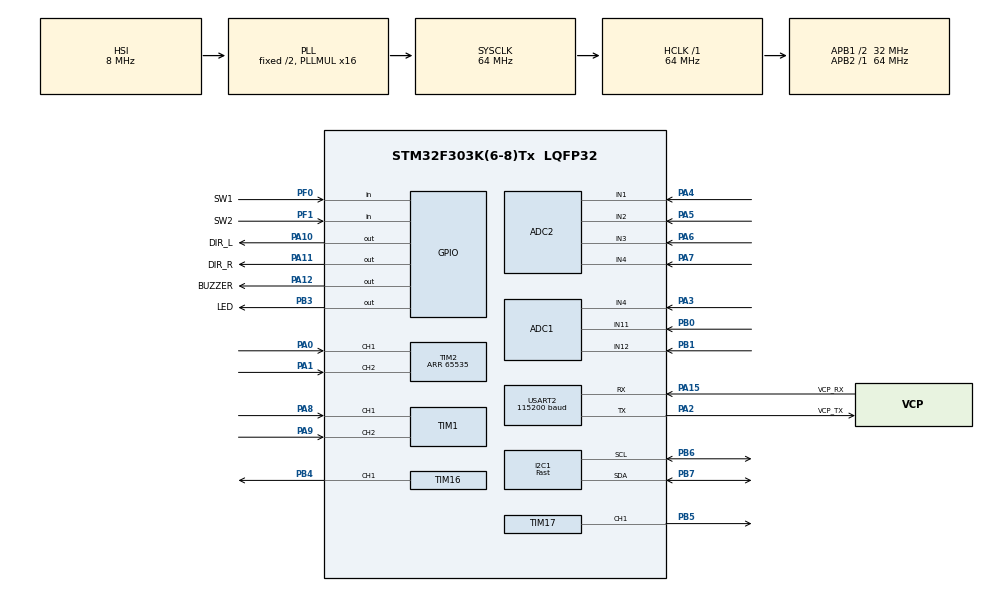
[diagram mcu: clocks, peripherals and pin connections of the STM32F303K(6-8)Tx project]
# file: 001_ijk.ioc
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ADC1.Channel-0\#ChannelRegularConversion=ADC_CHANNEL_4
ADC1.Channel-1\#ChannelRegularConversion=ADC_CHANNEL_11
ADC1.Channel-2\#ChannelRegularConversion=ADC_CHANNEL_12
ADC1.DMAContinuousRequests=ENABLE
ADC1.DiscontinuousConvMode=ENABLE
ADC1.ExternalTrigConv=ADC_EXTERNALTRIGCONV_T3_TRGO
ADC1.NbrOfConversion=3
ADC1.NbrOfConversionFlag=1
ADC1.NbrOfDiscConversion=3
ADC1.Offset-0\#ChannelRegularConversion=0
ADC1.Offset-1\#ChannelRegularConversion=0
ADC1.Offset-2\#ChannelRegularConversion=0
ADC1.OffsetNumber-0\#ChannelRegularConversion=ADC_OFFSET_NONE
ADC1.OffsetNumber-1\#ChannelRegularConversion=ADC_OFFSET_NONE
ADC1.OffsetNumber-2\#ChannelRegularConversion=ADC_OFFSET_NONE
ADC1.Rank-0\#ChannelRegularConversion=1
ADC1.Rank-1\#ChannelRegularConversion=2
ADC1.Rank-2\#ChannelRegularConversion=3
ADC1.SamplingTime-0\#ChannelRegularConversion=ADC_SAMPLETIME_4CYCLES_5
ADC1.SamplingTime-1\#ChannelRegularConversion=ADC_SAMPLETIME_4CYCLES_5
ADC1.SamplingTime-2\#ChannelRegularConversion=ADC_SAMPLETIME_4CYCLES_5
ADC1.SamplingTimeOPAMP-1\#ChannelRegularConversion=ADC_SAMPLETIME_61CYCLES_5
ADC1.SamplingTimeOPAMP-2\#ChannelRegularConversion=ADC_SAMPLETIME_61CYCLES_5
ADC1.SubFamily=STM32F303x8
ADC1.master=1
ADC2.Channel-0\#ChannelRegularConversion=ADC_CHANNEL_1
ADC2.Channel-1\#ChannelRegularConversion=ADC_CHANNEL_2
ADC2.Channel-2\#ChannelRegularConversion=ADC_CHANNEL_3
ADC2.Channel-3\#ChannelRegularConversion=ADC_CHANNEL_4
ADC2.DMAContinuousRequests=ENABLE
ADC2.DiscontinuousConvMode=ENABLE
ADC2.ExternalTrigConv=ADC_EXTERNALTRIGCONV_T3_TRGO
ADC2.NbrOfConversion=4
ADC2.NbrOfConversionFlag=1
ADC2.NbrOfDiscConversion=4
ADC2.Offset-0\#ChannelRegularConversion=0
ADC2.Offset-1\#ChannelRegularConversion=0
ADC2.Offset-2\#ChannelRegularConversion=0
ADC2.Offset-3\#ChannelRegularConversion=0
ADC2.OffsetNumber-0\#ChannelRegularConversion=ADC_OFFSET_NONE
ADC2.OffsetNumber-1\#ChannelRegularConversion=ADC_OFFSET_NONE
ADC2.OffsetNumber-2\#ChannelRegularConversion=ADC_OFFSET_NONE
ADC2.OffsetNumber-3\#ChannelRegularConversion=ADC_OFFSET_NONE
ADC2.Rank-0\#ChannelRegularConversion=1
ADC2.Rank-1\#ChannelRegularConversion=2
ADC2.Rank-2\#ChannelRegularConversion=3
ADC2.Rank-3\#ChannelRegularConversion=4
ADC2.SamplingTime-0\#ChannelRegularConversion=ADC_SAMPLETIME_4CYCLES_5
ADC2.SamplingTime-1\#ChannelRegularConversion=ADC_SAMPLETIME_4CYCLES_5
ADC2.SamplingTime-2\#ChannelRegularConversion=ADC_SAMPLETIME_4CYCLES_5
ADC2.SamplingTime-3\#ChannelRegularConversion=ADC_SAMPLETIME_4CYCLES_5
ADC2.SamplingTimeOPAMP-1\#ChannelRegularConversion=ADC_SAMPLETIME_61CYCLES_5
ADC2.SamplingTimeOPAMP-2\#ChannelRegularConversion=ADC_SAMPLETIME_61CYCLES_5
ADC2.SamplingTimeOPAMP-3\#ChannelRegularConversion=ADC_SAMPLETIME_61CYCLES_5
ADC2.SubFamily=STM32F303x8
Dma.ADC1.0.Direction=DMA_PERIPH_TO_MEMORY
Dma.ADC1.0.Instance=DMA1_Channel1
Dma.ADC1.0.MemDataAlignment=DMA_MDATAALIGN_HALFWORD
Dma.ADC1.0.MemInc=DMA_MINC_ENABLE
Dma.ADC1.0.Mode=DMA_CIRCULAR
Dma.ADC1.0.PeriphDataAlignment=DMA_PDATAALIGN_HALFWORD
Dma.ADC1.0.PeriphInc=DMA_PINC_DISABLE
Dma.ADC1.0.Priority=DMA_PRIORITY_LOW
Dma.ADC2.1.Direction=DMA_PERIPH_TO_MEMORY
Dma.ADC2.1.Instance=DMA1_Channel2
Dma.ADC2.1.MemDataAlignment=DMA_MDATAALIGN_HALFWORD
Dma.ADC2.1.MemInc=DMA_MINC_ENABLE
Dma.ADC2.1.Mode=DMA_CIRCULAR
Dma.ADC2.1.PeriphDataAlignment=DMA_PDATAALIGN_HALFWORD
Dma.ADC2.1.PeriphInc=DMA_PINC_DISABLE
Dma.ADC2.1.Priority=DMA_PRIORITY_LOW
Dma.I2C1_RX.2.Direction=DMA_PERIPH_TO_MEMORY
Dma.I2C1_RX.2.Instance=DMA1_Channel3
Dma.I2C1_RX.2.MemDataAlignment=DMA_MDATAALIGN_BYTE
Dma.I2C1_RX.2.MemInc=DMA_MINC_ENABLE
Dma.I2C1_RX.2.Mode=DMA_NORMAL
Dma.I2C1_RX.2.PeriphDataAlignment=DMA_PDATAALIGN_BYTE
Dma.I2C1_RX.2.PeriphInc=DMA_PINC_DISABLE
Dma.I2C1_RX.2.Priority=DMA_PRIORITY_LOW
Dma.I2C1_TX.3.Direction=DMA_MEMORY_TO_PERIPH
Dma.I2C1_TX.3.Instance=DMA1_Channel4
Dma.I2C1_TX.3.MemDataAlignment=DMA_MDATAALIGN_BYTE
Dma.I2C1_TX.3.MemInc=DMA_MINC_ENABLE
Dma.I2C1_TX.3.Mode=DMA_NORMAL
Dma.I2C1_TX.3.PeriphDataAlignment=DMA_PDATAALIGN_BYTE
Dma.I2C1_TX.3.PeriphInc=DMA_PINC_DISABLE
Dma.I2C1_TX.3.Priority=DMA_PRIORITY_LOW
Dma.Request0=ADC1
Dma.Request1=ADC2
Dma.Request2=I2C1_RX
Dma.Request3=I2C1_TX
I2C1.I2C_Speed_Mode=I2C_Fast
I2C1.Timing=0x0010020A
Mcu.Family=STM32F3
Mcu.Name=STM32F303K(6-8)Tx
Mcu.Package=LQFP32
NVIC.DMA1_Channel1_IRQn=true\:0\:0\:false\:false\:true\:false\:true\:true
NVIC.DMA1_Channel2_IRQn=true\:0\:0\:false\:false\:true\:false\:true\:true
NVIC.DMA1_Channel3_IRQn=true\:0\:0\:false\:false\:true\:false\:true\:true
NVIC.DMA1_Channel4_IRQn=true\:0\:0\:false\:false\:true\:false\:true\:true
NVIC.I2C1_EV_IRQn=true\:0\:0\:false\:false\:true\:true\:true\:true
NVIC.PriorityGroup=NVIC_PRIORITYGROUP_4
NVIC.TIM6_DAC1_IRQn=true\:0\:0\:false\:false\:true\:true\:true\:true
NVIC.TIM7_DAC2_IRQn=true\:0\:0\:false\:false\:true\:true\:true\:true
PA0.Signal=S_TIM2_CH1_ETR
PA1.Signal=S_TIM2_CH2
PA10.GPIO_Label=DIR_L
PA10.Signal=GPIO_Output
PA11.GPIO_Label=DIR_R
PA11.Signal=GPIO_Output
PA12.GPIO_Label=BUZZER
PA12.Signal=GPIO_Output
PA13.GPIO_Label=SWDIO
PA13.Mode=Serial_Wire
PA13.Signal=SYS_JTMS-SWDIO
PA14.GPIO_Label=SWCLK
PA14.Mode=Serial_Wire
PA14.Signal=SYS_JTCK-SWCLK
PA15.GPIO_Label=VCP_RX
PA15.Mode=Asynchronous
PA15.Signal=USART2_RX
PA2.GPIO_Label=VCP_TX
PA2.Mode=Asynchronous
PA2.Signal=USART2_TX
PA3.Mode=IN4-Single-Ended
PA3.Signal=ADC1_IN4
PA4.Mode=IN1-Single-Ended
PA4.Signal=ADC2_IN1
PA5.Mode=IN2-Single-Ended
PA5.Signal=ADC2_IN2
PA6.Mode=IN3-Single-Ended
PA6.Signal=ADC2_IN3
PA7.Mode=IN4-Single-Ended
PA7.Signal=ADC2_IN4
PA8.Signal=S_TIM1_CH1
PA9.Signal=S_TIM1_CH2
PB0.Mode=IN11-Single-Ended
PB0.Signal=ADC1_IN11
PB1.Mode=IN12-Single-Ended
PB1.Signal=ADC1_IN12
PB3.GPIO_Label=LED
PB3.Signal=GPIO_Output
PB4.Signal=S_TIM16_CH1
PB5.Signal=S_TIM17_CH1
PB6.Mode=I2C
PB6.Signal=I2C1_SCL
PB7.Mode=I2C
PB7.Signal=I2C1_SDA
PF0\ /\ OSC_IN.GPIO_Label=SW1
PF0\ /\ OSC_IN.GPIO_PuPd=GPIO_PULLUP
PF0\ /\ OSC_IN.Signal=GPIO_Input
PF1\ /\ OSC_OUT.GPIO_Label=SW2
PF1\ /\ OSC_OUT.GPIO_PuPd=GPIO_PULLUP
PF1\ /\ OSC_OUT.Signal=GPIO_Input
ProjectManager.HeapSize=0x200
ProjectManager.StackSize=0x400
ProjectManager.TargetToolchain=CMake
RCC.AHBFreq_Value=64000000
RCC.APB1CLKDivider=RCC_HCLK_DIV2
RCC.APB1Freq_Value=32000000
RCC.APB1TimFreq_Value=64000000
RCC.APB2Freq_Value=64000000
RCC.APB2TimFreq_Value=64000000
RCC.CortexFreq_Value=64000000
RCC.HCLKFreq_Value=64000000
RCC.HSE_VALUE=8000000
RCC.HSI_VALUE=8000000
RCC.PLLMUL=RCC_PLL_MUL16
RCC.SYSCLKFreq_VALUE=64000000
RCC.SYSCLKSourceVirtual=RCC_SYSCLKSOURCE_PLLCLK
SH.S_TIM16_CH1.0=TIM16_CH1,PWM Generation1 CH1
SH.S_TIM17_CH1.0=TIM17_CH1,PWM Generation1 CH1
SH.S_TIM1_CH1.0=TIM1_CH1,Encoder_Interface
SH.S_TIM1_CH2.0=TIM1_CH2,Encoder_Interface
SH.S_TIM2_CH1_ETR.0=TIM2_CH1,Encoder_Interface
SH.S_TIM2_CH2.0=TIM2_CH2,Encoder_Interface
TIM1.AutoReloadPreload=TIM_AUTORELOAD_PRELOAD_ENABLE
TIM1.EncoderMode=TIM_ENCODERMODE_TI12
TIM16.AutoReloadPreload=TIM_AUTORELOAD_PRELOAD_ENABLE
TIM16.Channel=TIM_CHANNEL_1
TIM16.Period=3199
TIM16.Pulse=599
TIM17.AutoReloadPreload=TIM_AUTORELOAD_PRELOAD_ENABLE
TIM17.Channel=TIM_CHANNEL_1
TIM17.Period=3199
TIM17.Pulse=599
TIM2.AutoReloadPreload=TIM_AUTORELOAD_PRELOAD_ENABLE
TIM2.EncoderMode=TIM_ENCODERMODE_TI12
TIM2.Period=65535
TIM3.AutoReloadPreload=TIM_AUTORELOAD_PRELOAD_ENABLE
TIM3.Period=999
TIM3.Prescaler=63
TIM3.TIM_MasterOutputTrigger=TIM_TRGO_UPDATE
TIM6.AutoReloadPreload=TIM_AUTORELOAD_PRELOAD_ENABLE
TIM6.Period=499
TIM6.Prescaler=63
TIM7.AutoReloadPreload=TIM_AUTORELOAD_PRELOAD_ENABLE
TIM7.Prescaler=15
TIM7.TIM_MasterOutputTrigger=TIM_TRGO_UPDATE
USART2.BaudRate=115200
USART2.VirtualMode-Asynchronous=VM_ASYNC
VP_TIM16_VS_ClockSourceINT.Mode=Enable_Timer
VP_TIM17_VS_ClockSourceINT.Mode=Enable_Timer
VP_TIM3_VS_ClockSourceINT.Mode=Internal
VP_TIM6_VS_ClockSourceINT.Mode=Enable_Timer
VP_TIM7_VS_ClockSourceINT.Mode=Enable_Timer
board=NUCLEO-F303K8

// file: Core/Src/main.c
/* USER CODE BEGIN Header */
/**
  ******************************************************************************
  * @file           : main.c
  * @brief          : Main program body
  ******************************************************************************
  * @attention
  *
  * Copyright (c) 2025 STMicroelectronics.
  * All rights reserved.
  *
  * This software is licensed under terms that can be found in the LICENSE file
  * in the root directory of this software component.
  * If no LICENSE file comes with this software, it is provided AS-IS.
  *
  ******************************************************************************
  */
/* USER CODE END Header */
#include "main.h"
#include "adc.h"
#include "dma.h"
#include "i2c.h"
#include "stm32f3xx_hal_gpio.h"
#include "stm32f3xx_hal_tim.h"
#include "tim.h"
#include "usart.h"
#include "gpio.h"

/* USER CODE BEGIN Includes */
// #include <xprintf.h>
#include <xprintf.h>

#include "../../usercodes/sac/sac.h"
#include "../../usercodes/app/app.h"
#include "../../usercodes/service/i2cmn/i2c_manager.h"

/* USER CODE END Includes */

/* USER CODE BEGIN PV */
volatile uint16_t   ADC1_DMA_data[3];
volatile uint16_t   ADC2_DMA_data[4];
volatile uint16_t   timerIntrDevCnt;

/* USER CODE END PV */

void SystemClock_Config(void);
/* USER CODE BEGIN PFP */

/**
 * @brief 500usタイマーハンドラA
 * @details タイマー割り込み内で実施
 */
void timerInterruptHandler_500us(void);

/**
 * @brief 1msタイマーハンドラA
 * @details タイマー割り込み内で実施
 */
void timerInterruptHandler_1msA(void);
/**
 * @brief 1msタイマーハンドラB
 * @details タイマー割り込み内で実施
 */
void timerInterruptHandler_1msB(void);

/**
 * @brief 10msタイマーハンドラA
 * @details タイマー割り込み内で実施
 */
void timerInterruptHandler_10msA(void);
/**
 * @brief 10msタイマーハンドラB
 * @details タイマー割り込み内で実施
 */
void timerInterruptHandler_10msB(void);

/* USER CODE END PFP */

/* USER CODE BEGIN 0 */
int __io_putchar(int ch){
    HAL_UART_Transmit(&huart2, (uint8_t *)&ch, 1 , 0xFFFF );
    return ch;
}
void _x_putchar(int ch) {
    HAL_UART_Transmit(&huart2, (uint8_t *)&ch, 1 , 0xFFFF );
}

void HAL_TIM_PeriodElapsedCallback(TIM_HandleTypeDef *htim) {
    HAL_GPIO_WritePin(LED_GPIO_Port, LED_Pin, 1);
    if (htim == &htim7) {
      buzzerToggle();
    }
    if (htim == &htim6) {

        timerInterruptHandler_500us();

        if (timerIntrDevCnt % 2) {
            timerInterruptHandler_1msA();
        }
        else {
            timerInterruptHandler_1msB();
        }

        if (timerIntrDevCnt == 0) {
            timerInterruptHandler_10msA();
        }
        else if (timerIntrDevCnt == 10) {
            timerInterruptHandler_10msB();
        }

        if (timerIntrDevCnt == 19) {
            timerIntrDevCnt = 0;
        }
        else {
            timerIntrDevCnt++;
        }
    }
    HAL_GPIO_WritePin(LED_GPIO_Port, LED_Pin, 0);
}

/* USER CODE END 0 */

int main(void)
{

  /* USER CODE BEGIN 1 */
    int cnt = 0;
  /* USER CODE END 1 */

  /* MCU Configuration--------------------------------------------------------*/

  /* Reset of all peripherals, Initializes the Flash interface and the Systick. */
  HAL_Init();

  /* Configure the system clock */
  SystemClock_Config();

  /* Initialize all configured peripherals */
  MX_GPIO_Init();
  MX_DMA_Init();
  MX_USART2_UART_Init();
  MX_ADC1_Init();
  MX_ADC2_Init();
  MX_I2C1_Init();
  MX_TIM1_Init();
  MX_TIM2_Init();
  MX_TIM16_Init();
  MX_TIM17_Init();
  MX_TIM3_Init();
  MX_TIM6_Init();
  MX_TIM7_Init();
  /* USER CODE BEGIN 2 */
  for (cnt = 0; cnt < 8; cnt++) {
      HAL_GPIO_WritePin(LED_GPIO_Port, LED_Pin, 1);
      HAL_GPIO_WritePin(BUZZER_GPIO_Port,BUZZER_Pin,1);
      HAL_Delay(64 - (cnt * 4));
      HAL_GPIO_WritePin(LED_GPIO_Port, LED_Pin, 0);
      HAL_GPIO_WritePin(BUZZER_GPIO_Port,BUZZER_Pin,0);
      HAL_Delay(128 - (cnt * 8));
  }

  // ADC start
  HAL_TIM_Base_Start(&htim3);  //1kHz
  HAL_ADC_Start_DMA(&hadc1, (uint32_t *)ADC1_DMA_data, 3);
  HAL_ADC_Start_DMA(&hadc2, (uint32_t *)ADC2_DMA_data, 4);

  //motor start

  HAL_TIM_PWM_Start(&htim16, TIM_CHANNEL_1);
  HAL_TIM_PWM_Start(&htim17, TIM_CHANNEL_1);

  HAL_TIM_Encoder_Start(&htim1, TIM_CHANNEL_ALL);
  HAL_TIM_Encoder_Start(&htim2, TIM_CHANNEL_ALL);

  i2cmanagerInit();
  /// SAC INIT
  uiswInit();
  buzzerInit();
  motorsInit();
  linesensorsInit(&ADC2_DMA_data[2], &ADC2_DMA_data[1], &ADC2_DMA_data[0], &ADC1_DMA_data[0]);
  markersensorsInit(&ADC1_DMA_data[2], &ADC1_DMA_data[1]);
  batteryInit(&ADC2_DMA_data[3]);

  // Timer Intr 500us
  timerIntrDevCnt = 0;
  __HAL_TIM_SET_COUNTER(&htim6, 250);
  HAL_TIM_Base_Start_IT(&htim6);
  xdev_out(_x_putchar);
  xprintf("\r\n=== !! IJK BOOT OK !! ===\r\n");
  appInit();
  /* USER CODE END 2 */

  /* Infinite loop */
  /* USER CODE BEGIN WHILE */
  while (1)
  {
    sacLoop();
    i2cmanagerMainloop();
    appMainLoop();
    /* USER CODE END WHILE */

    /* USER CODE BEGIN 3 */
      HAL_Delay(10);
  }
  /* USER CODE END 3 */
}

void SystemClock_Config(void)
{
  RCC_OscInitTypeDef RCC_OscInitStruct = {0};
  RCC_ClkInitTypeDef RCC_ClkInitStruct = {0};
  RCC_PeriphCLKInitTypeDef PeriphClkInit = {0};

  /** Initializes the RCC Oscillators according to the specified parameters
  * in the RCC_OscInitTypeDef structure.
  */
  RCC_OscInitStruct.OscillatorType = RCC_OSCILLATORTYPE_HSI;
  RCC_OscInitStruct.HSIState = RCC_HSI_ON;
  RCC_OscInitStruct.HSICalibrationValue = RCC_HSICALIBRATION_DEFAULT;
  RCC_OscInitStruct.PLL.PLLState = RCC_PLL_ON;
  RCC_OscInitStruct.PLL.PLLSource = RCC_PLLSOURCE_HSI;
  RCC_OscInitStruct.PLL.PLLMUL = RCC_PLL_MUL16;
  if (HAL_RCC_OscConfig(&RCC_OscInitStruct) != HAL_OK)
  {
    Error_Handler();
  }

  /** Initializes the CPU, AHB and APB buses clocks
  */
  RCC_ClkInitStruct.ClockType = RCC_CLOCKTYPE_HCLK|RCC_CLOCKTYPE_SYSCLK
                              |RCC_CLOCKTYPE_PCLK1|RCC_CLOCKTYPE_PCLK2;
  RCC_ClkInitStruct.SYSCLKSource = RCC_SYSCLKSOURCE_PLLCLK;
  RCC_ClkInitStruct.AHBCLKDivider = RCC_SYSCLK_DIV1;
  RCC_ClkInitStruct.APB1CLKDivider = RCC_HCLK_DIV2;
  RCC_ClkInitStruct.APB2CLKDivider = RCC_HCLK_DIV1;

  if (HAL_RCC_ClockConfig(&RCC_ClkInitStruct, FLASH_LATENCY_2) != HAL_OK)
  {
    Error_Handler();
  }
  PeriphClkInit.PeriphClockSelection = RCC_PERIPHCLK_I2C1|RCC_PERIPHCLK_TIM1
                              |RCC_PERIPHCLK_ADC12;
  PeriphClkInit.Adc12ClockSelection = RCC_ADC12PLLCLK_DIV1;
  PeriphClkInit.I2c1ClockSelection = RCC_I2C1CLKSOURCE_HSI;
  PeriphClkInit.Tim1ClockSelection = RCC_TIM1CLK_HCLK;
  if (HAL_RCCEx_PeriphCLKConfig(&PeriphClkInit) != HAL_OK)
  {
    Error_Handler();
  }
}

/* USER CODE BEGIN 4 */

void timerInterruptHandler_500us(void) {

}

void timerInterruptHandler_1msA(void) {
    linesensorsMeasure_1ms();
    markersensorsMeasure_1ms();
    i2cmanagerControl_1ms_A();
    imuMeasure_1ms();
}

void timerInterruptHandler_1msB(void) {
    i2cmanagerControl_1ms_B();
    appIntervalHandler_1ms();
    motorsControl_1ms();
}

void timerInterruptHandler_10msA(void) {
    uisw_10ms();
    buzzer_10ms();
}

void timerInterruptHandler_10msB(void) {
    battery_10ms();
    appIntervalHandler_10ms();
}
/* USER CODE END 4 */

void Error_Handler(void)
{
  __disable_irq();
  while (1)
  {
  }
}
